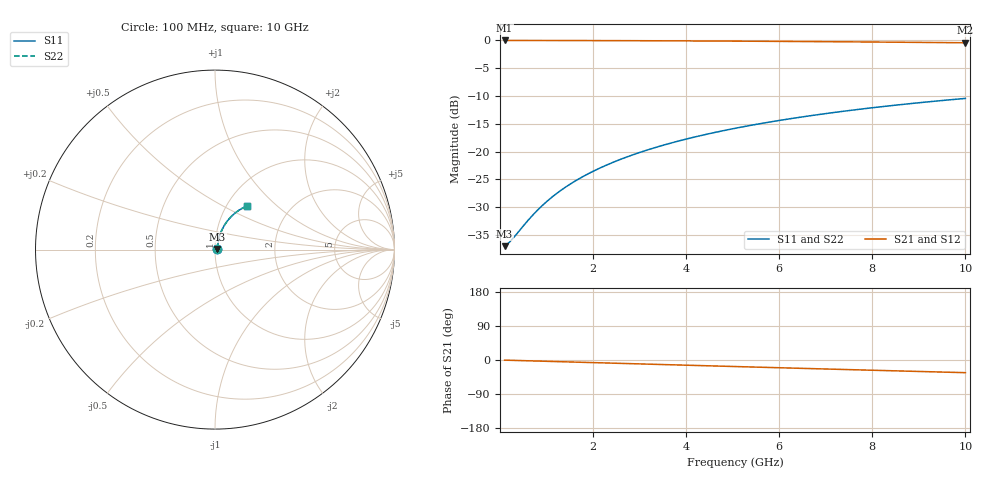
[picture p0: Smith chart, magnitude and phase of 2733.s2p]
# Hz S RI R 50.00
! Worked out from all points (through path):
!   100 points, 100 MHz to 10 GHz, reference 50 ohm
!   highest |S21| = -0.12 dB at 100 MHz (marker M1); lowest = -0.5 dB at 10 GHz (marker M2)
!   group delay of S21, straight-line fit = 9.3 ps
!   lowest |S11| = -36.9 dB at 100 MHz (marker M3), VSWR 1.03, Z = 51.4 + j0.327 ohm
!   |S11| at or under -10 dB: start of sweep to end of sweep
!   |S22| runs from -36.9 to -10.5 dB; largest |S21 - S12| = 0
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1e8  0.0139 0.00318  0.9861 -0.00593  0.9861 -0.00593  0.0139 0.00318
2e8  0.014 0.00635  0.986 -0.0118  0.986 -0.0118  0.014 0.00635
3e8  0.0142 0.00952  0.9858 -0.0178  0.9858 -0.0178  0.0142 0.00952
5e8  0.0146 0.0159  0.9853 -0.0296  0.9853 -0.0296  0.0146 0.0159
7e8  0.0151 0.0222  0.9847 -0.0414  0.9847 -0.0414  0.0151 0.0222
8e8  0.0154 0.0253  0.9843 -0.0473  0.9843 -0.0473  0.0154 0.0253
1e9  0.0162 0.0316  0.9834 -0.0591  0.9834 -0.0591  0.0162 0.0316
1.2e9  0.0171 0.0379  0.9824 -0.0709  0.9824 -0.0709  0.0171 0.0379
1.4e9  0.0181 0.0442  0.9811 -0.0827  0.9811 -0.0827  0.0181 0.0442
1.6e9  0.0193 0.0504  0.9797 -0.0944  0.9797 -0.0944  0.0193 0.0504
1.8e9  0.0206 0.0566  0.9781 -0.1061  0.9781 -0.1061  0.0206 0.0566
2.1e9  0.0229 0.0658  0.9754 -0.1235  0.9754 -0.1235  0.0229 0.0658
2.5e9  0.0264 0.0779  0.9712 -0.1467  0.9712 -0.1467  0.0264 0.0779
2.9e9  0.0305 0.0898  0.9663 -0.1696  0.9663 -0.1696  0.0305 0.0898
3.4e9  0.0363 0.1044  0.9592 -0.1979  0.9592 -0.1979  0.0363 0.1044
4.2e9  0.0474 0.1268  0.9457 -0.2424  0.9457 -0.2424  0.0474 0.1268
5.1e9  0.0623 0.1504  0.9276 -0.2909  0.9276 -0.2909  0.0623 0.1504
5.9e9  0.0774 0.1699  0.9091 -0.3325  0.9091 -0.3325  0.0774 0.1699
6.7e9  0.0941 0.1877  0.8884 -0.3724  0.8884 -0.3724  0.0941 0.1877
7.5e9  0.1123 0.2037  0.8658 -0.4106  0.8658 -0.4106  0.1123 0.2037
8.4e9  0.1341 0.2195  0.8382 -0.4514  0.8382 -0.4514  0.1341 0.2195
1e10  0.1757 0.2415  0.7848 -0.5179  0.7848 -0.5179  0.1757 0.2415
